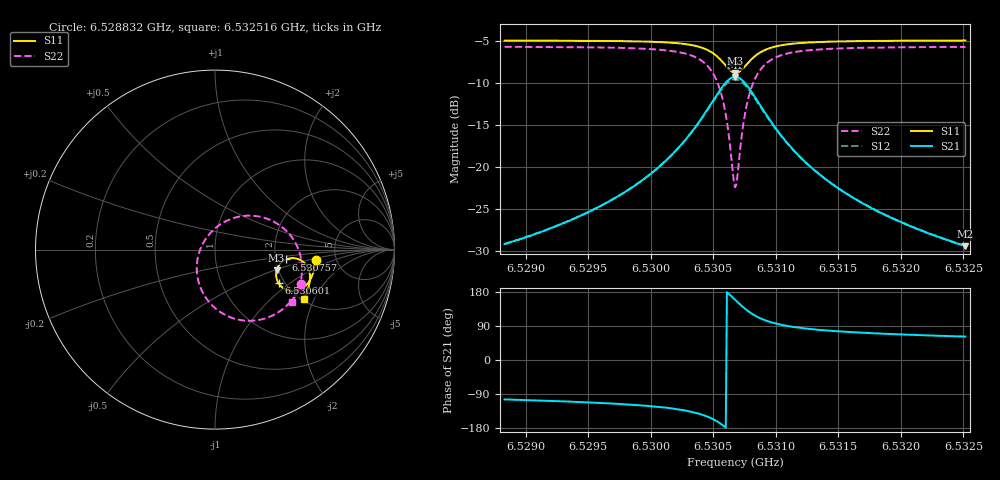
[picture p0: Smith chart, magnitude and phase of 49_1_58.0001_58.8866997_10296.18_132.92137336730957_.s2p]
#  HZ  S  RI  R  50.00
! Rohde & Schwarz Vector Network Analyzer
! Rohde-Schwarz,ZNB20-2Port,1311601062101988,3.16
! Created: UTC 3/21/2024, 12:52:24 AM
! freq[Hz]  re:S11  im:S11  re:S21  im:S21  re:S12  im:S12  re:S22  im:S22
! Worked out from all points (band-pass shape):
!   401 points, 6.528832 GHz to 6.532516 GHz, reference 50 ohm
!   highest |S21| = -9.29 dB at 6.530674 GHz (marker M1); lowest = -29.4 dB at 6.532516 GHz (marker M2)
!   |S21| within 3 dB of the highest: 6.530491 GHz to 6.53086 GHz (368.9 kHz wide, 0.00565 % of centre)
!   lowest |S11| = -8.8 dB at 6.530674 GHz (marker M3), VSWR 2.14, Z = 97.7 - j26.1 ohm
!   |S11| at or under -10 dB: nowhere
!   |S22| runs from -22.4 to -5.7 dB; largest |S21 - S12| = 0.015
!   S11 on the Smith chart (normalised r, x): 6.528832 GHz: 3.47, -0.60; 6.530601 GHz: 1.86, -0.83; 6.530757 GHz: 2.28, -0.30; 6.532516 GHz: 2.07, -1.66
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6.528832e9  0.5607 -0.0593  -0.00848 -0.0338  -0.00925 -0.0336  0.4816 -0.191
6.5294491e9  0.5512 -0.1127  -0.0187 -0.0482  -0.02 -0.0478  0.4487 -0.2527
6.5297715e9  0.5412 -0.1446  -0.0308 -0.0619  -0.0324 -0.0612  0.4171 -0.2943
6.5300663e9  0.5233 -0.1795  -0.0557 -0.0831  -0.0583 -0.0815  0.3605 -0.344
6.5302781e9  0.4952 -0.21  -0.0996 -0.1054  -0.1029 -0.1018  0.2719 -0.3857
6.5304439e9  0.4438 -0.2307  -0.1819 -0.113  -0.1845 -0.1049  0.1207 -0.3882
6.5305361e9  0.3924 -0.2218  -0.262 -0.0795  -0.2604 -0.0677  -0.0116 -0.3149
6.5305729e9  0.3696 -0.206  -0.2966 -0.0451  -0.2913 -0.0327  -0.0627 -0.2496
6.5306005e9  0.3543 -0.1874  -0.3177 -0.00824  -0.3097 0.00325  -0.0904 -0.1839
6.5306558e9  0.3407 -0.135  -0.3297 0.0873  -0.3167 0.0939  -0.0906 -0.0237
6.5306742e9  0.3433 -0.1159  -0.321 0.1211  -0.3076 0.1251  -0.0697 0.0295
6.5306927e9  0.3503 -0.0979  -0.3058 0.1522  -0.2926 0.154  -0.0387 0.0778
6.5307295e9  0.3736 -0.0686  -0.2607 0.2016  -0.2493 0.1993  0.0444 0.1498
6.5307571e9  0.3958 -0.055  -0.2202 0.224  -0.2112 0.2199  0.1151 0.1791
6.5307848e9  0.4182 -0.0485  -0.1801 0.2343  -0.1734 0.2297  0.1836 0.1892
6.5308216e9  0.4455 -0.0483  -0.1328 0.2342  -0.1283 0.23  0.263 0.1803
6.5309137e9  0.4915 -0.0687  -0.0545 0.2032  -0.0526 0.2007  0.3909 0.1106
6.5310519e9  0.5198 -0.1063  -0.00621 0.151  -0.00495 0.1499  0.4637 0.00481
6.5312914e9  0.5294 -0.1531  0.0149 0.0971  0.016 0.0969  0.485 -0.1068
6.5315493e9  0.5261 -0.1875  0.0186 0.0681  0.0196 0.0679  0.4777 -0.1728
6.5319085e9  0.5163 -0.2235  0.0183 0.047  0.0191 0.0466  0.4601 -0.2295
6.5325165e9  0.4953 -0.2725  0.016 0.0298  0.0167 0.0296  0.4284 -0.2903
